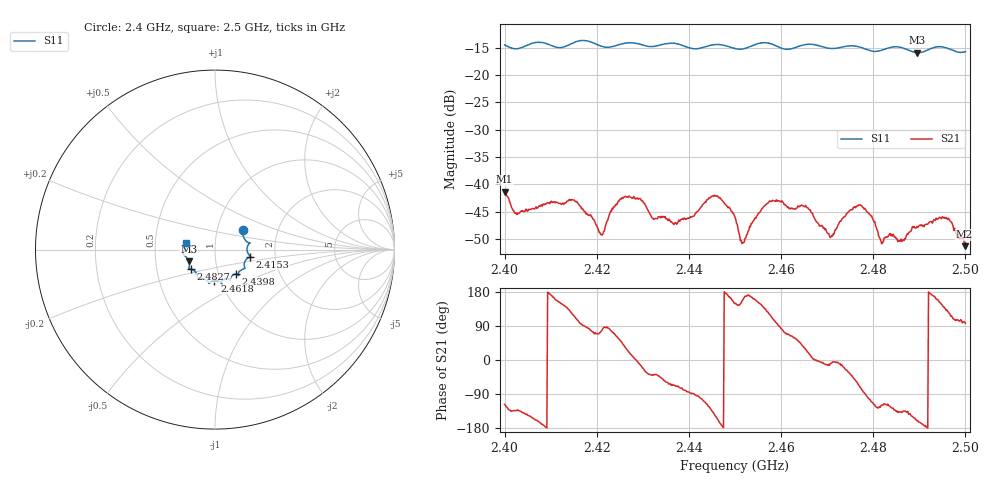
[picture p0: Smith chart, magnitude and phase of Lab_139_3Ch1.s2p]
# Hz S RI R 50
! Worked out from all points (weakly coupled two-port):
!   601 points, 2.4 GHz to 2.5 GHz, reference 50 ohm
!   highest |S21| = -41.39 dB at 2.4 GHz (marker M1); lowest = -51.3 dB at 2.4998 GHz (marker M2)
!   lowest |S11| = -15.9 dB at 2.4895 GHz (marker M3), VSWR 1.38, Z = 37 - j5 ohm
!   |S11| at or under -10 dB: start of sweep to end of sweep
!   S12 and S22 are empty: the file has one direction only
!   S11 on the Smith chart (normalised r, x): 2.4 GHz: 1.33, +0.29; 2.4153 GHz: 1.48, -0.12; 2.4398 GHz: 1.21, -0.34; 2.4618 GHz: 0.94, -0.33; 2.4827 GHz: 0.75, -0.17; 2.5 GHz: 0.72, +0.06
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2.4e9  0.1554 0.1065  -0.00386 -0.00759  0 0  0 0
2.402667e9  0.1618 0.0638  -0.00361 -0.00385  0 0  0 0
2.415333e9  0.1966 -0.0391  -0.00261 0.00644  0 0  0 0
2.416667e9  0.2026 -0.0433  -0.000392 0.00595  0 0  0 0
2.421e9  0.1754 -0.0535  0.000781 0.00338  0 0  0 0
2.426e9  0.1668 -0.1016  0.00614 0.00456  0 0  0 0
2.433333e9  0.1299 -0.1338  0.00374 -0.00336  0 0  0 0
2.439833e9  0.1157 -0.136  0.000502 -0.00489  0 0  0 0
2.445667e9  0.084 -0.1704  -0.00657 -0.00422  0 0  0 0
2.45e9  0.0652 -0.1622  -0.00427 0.00258  0 0  0 0
2.451667e9  0.0475 -0.1665  -0.00271 0.00108  0 0  0 0
2.457333e9  0.0387 -0.1919  -0.00368 0.00578  0 0  0 0
2.461833e9  -0.00332 -0.1728  0.00248 0.00551  0 0  0 0
2.466667e9  -0.0346 -0.1881  0.00541 0.000704  0 0  0 0
2.471e9  -0.0587 -0.1647  0.00337 -0.000459  0 0  0 0
2.477333e9  -0.0972 -0.1505  0.00173 -0.00615  0 0  0 0
2.482667e9  -0.135 -0.1086  -0.00148 -0.00289  0 0  0 0
2.483333e9  -0.1401 -0.1083  -0.00168 -0.00295  0 0  0 0
2.4895e9  -0.1459 -0.0659  -0.00386 -0.00139  0 0  0 0
2.4955e9  -0.1784 -0.0177  -0.00365 0.00337  0 0  0 0
2.499833e9  -0.1592 0.0357  -0.00048 0.00266  0 0  0 0
2.5e9  -0.1592 0.0386  -0.000347 0.00289  0 0  0 0
